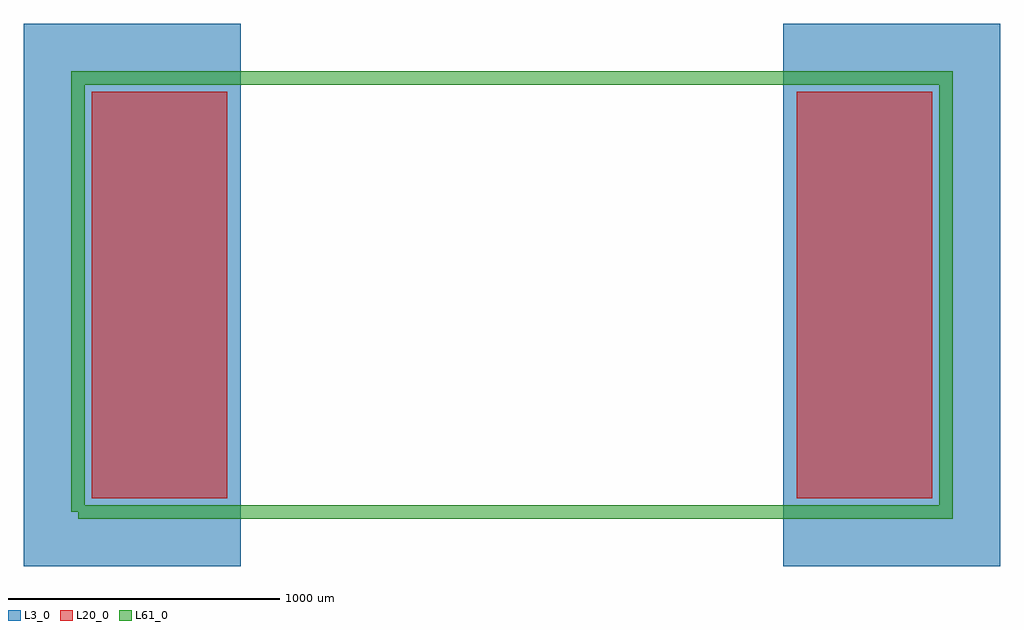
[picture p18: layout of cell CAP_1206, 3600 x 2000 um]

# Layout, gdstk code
import gdstk
lib = gdstk.Library(unit=1e-6, precision=1e-09)
def R(c, l, rs):  # rectangles x0, y0, x1, y1
    for r in rs: c.add(gdstk.rectangle(r[:2], r[2:], *l))
L3_0 = (3, 0)
L20_0 = (20, 0)
L61_0 = (61, 0)

cap_1206 = lib.new_cell('CAP_1206')
R(cap_1206, L3_0, [(-200,-200,600,1800), (2600,-200,3400,1800)])
R(cap_1206, L20_0, [(50,50,550,1550), (2650,50,3150,1550)])
cap_1206.add(gdstk.FlexPath([(0,0),(3200,0),(3200,1600),(0,1600),(0,0)], 50, ends="flush", simple_path=True, layer=61, datatype=0))  # L61_0

lib.write_gds('CAP_1206.gds')
